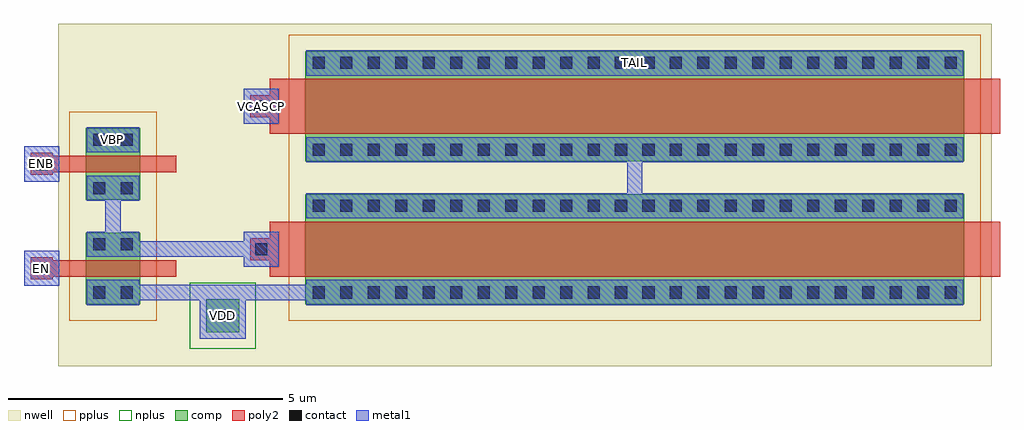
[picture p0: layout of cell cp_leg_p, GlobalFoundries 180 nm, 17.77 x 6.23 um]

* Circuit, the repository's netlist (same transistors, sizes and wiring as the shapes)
* Extracted by KLayout with GF180MCU LVS runset on : 08/09/2026 19:05

.SUBCKT cp_leg_p EN ENB TAIL VBP VCASCP VDD
M$1 VBP ENB \$4 VDD pfet_03v3 L=0.3U W=1U AS=0.5P AD=0.5P PS=3U PD=3U
M$2 \$5 \$4 VDD VDD pfet_03v3 L=1U W=12U AS=6P AD=6P PS=25U PD=25U
M$3 TAIL VCASCP \$5 VDD pfet_03v3 L=1U W=12U AS=6P AD=6P PS=25U PD=25U
M$4 \$4 EN VDD VDD pfet_03v3 L=0.3U W=1U AS=0.5P AD=0.5P PS=3U PD=3U
.ENDS cp_leg_p

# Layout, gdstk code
import gdstk
lib = gdstk.Library(unit=1e-6, precision=1e-09)
def R(c, l, rs):  # rectangles x0, y0, x1, y1
    for r in rs: c.add(gdstk.rectangle(r[:2], r[2:], *l))
def A(c, l, x, y, w, h, nx, ny, dx, dy):  # array of equal rectangles
    R(c, l, [(x+i*dx, y+j*dy, x+i*dx+w, y+j*dy+h) for i in range(nx) for j in range(ny)])
nwell = (21, 0)
comp = (22, 0)
poly2 = (30, 0)
pplus = (31, 0)
nplus = (32, 0)
contact = (33, 0)
metal1 = (34, 0)

cp_leg_p = lib.new_cell('cp_leg_p')
R(cp_leg_p, nwell, [(-0.5,-1.13,16.5,5.1)])
R(cp_leg_p, comp, [(2.2,-0.51,2.8,0.09), (0,0,1,1.3), (4,0,16,2), (0,1.9,1,3.2), (4,2.6,16,4.6)])
R(cp_leg_p, poly2, [(-1,0.45,-0.6,0.85), (-0.65,0.5,1.65,0.8), (3.35,0.5,16.65,1.5), (3,0.8,3.4,1.2), (-1,2.35,-0.6,2.75), (-0.65,2.4,1.65,2.7), (3.35,3.1,16.65,4.1), (3,3.4,3.4,3.8)])
R(cp_leg_p, pplus, [(-0.3,-0.3,1.3,1.6), (3.7,-0.3,16.3,2.3), (-0.3,1.6,1.3,3.5), (3.7,2.3,16.3,4.9)])
R(cp_leg_p, nplus, [(1.9,-0.81,3.1,0.39)])
A(cp_leg_p, contact, 4.14, 0.1, 0.22, 0.22, 24, 2, 0.5, 1.58)
A(cp_leg_p, contact, 4.14, 2.7, 0.22, 0.22, 24, 2, 0.5, 1.58)
R(cp_leg_p, contact, [(2.39,-0.32,2.61,-0.1), (0.14,0.1,0.36,0.32), (0.64,0.1,0.86,0.32), (-0.91,0.54,-0.69,0.76), (3.09,0.89,3.31,1.11), (0.14,0.98,0.36,1.2), (0.64,0.98,0.86,1.2), (0.14,2,0.36,2.22), (0.64,2,0.86,2.22), (-0.91,2.44,-0.69,2.66), (0.14,2.88,0.36,3.1), (0.64,2.88,0.86,3.1), (3.09,3.49,3.31,3.71)])
R(cp_leg_p, metal1, [(2.08,-0.63,2.92,0.21), (0.02,-0.02,0.98,0.44), (4.02,-0.02,15.98,0.44), (0.98,0.07,4.02,0.35), (-1.12,0.33,-0.48,0.97), (2.88,0.68,3.52,1.32), (0.02,0.86,0.98,1.32), (0.98,0.86,3.52,1.14), (0.36,1.32,0.64,1.88), (4.02,1.56,15.98,2.02), (0.02,1.88,0.98,2.34), (9.86,2.02,10.14,2.58), (-1.12,2.23,-0.48,2.87), (4.02,2.58,15.98,3.04), (0.02,2.76,0.98,3.22), (2.88,3.28,3.52,3.92), (4.02,4.16,15.98,4.62)])
cp_leg_p.add(gdstk.Label('ENB', (-0.8,2.55), layer=34, texttype=10))
cp_leg_p.add(gdstk.Label('EN', (-0.8,0.65), layer=34, texttype=10))
cp_leg_p.add(gdstk.Label('VBP', (0.5,2.99), layer=34, texttype=10))
cp_leg_p.add(gdstk.Label('VCASCP', (3.2,3.6), layer=34, texttype=10))
cp_leg_p.add(gdstk.Label('TAIL', (10,4.39), layer=34, texttype=10))
cp_leg_p.add(gdstk.Label('VDD', (2.5,-0.21), layer=34, texttype=10))

lib.write_gds('cp_leg_p.gds')
